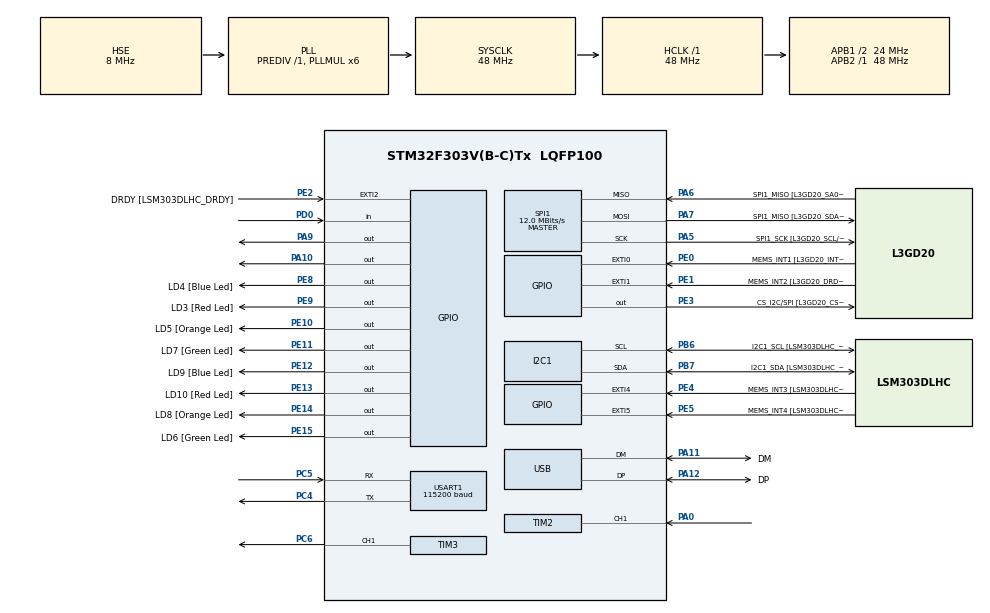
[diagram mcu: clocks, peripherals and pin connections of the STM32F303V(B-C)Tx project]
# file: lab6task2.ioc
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I2C1.Timing=0x2000090E
I2C1.Timing-I2C=0x2000090E
Mcu.Family=STM32F3
Mcu.Name=STM32F303V(B-C)Tx
Mcu.Package=LQFP100
NVIC.PriorityGroup=NVIC_PRIORITYGROUP_0
NVIC.TIM2_IRQn=true\:0\:0\:false\:false\:true\:true\:true\:true
PA0.Signal=S_TIM2_CH1_ETR
PA10.Signal=GPIO_Output
PA11.GPIO_Label=DM
PA11.Mode=Device
PA11.Signal=USB_DM
PA12.GPIO_Label=DP
PA12.Mode=Device
PA12.Signal=USB_DP
PA13.GPIO_Label=SWDIO
PA13.Mode=Serial_Wire
PA13.Signal=SYS_JTMS-SWDIO
PA14.GPIO_Label=SWCLK
PA14.Mode=Serial_Wire
PA14.Signal=SYS_JTCK-SWCLK
PA5.GPIO_Label=SPI1_SCK [L3GD20_SCL/SPC]
PA5.Mode=Full_Duplex_Master
PA5.Signal=SPI1_SCK
PA6.GPIO_Label=SPI1_MISO [L3GD20_SA0/SDO]
PA6.Mode=Full_Duplex_Master
PA6.Signal=SPI1_MISO
PA7.GPIO_Label=SPI1_MISO [L3GD20_SDA/SDI/SDO]
PA7.Mode=Full_Duplex_Master
PA7.Signal=SPI1_MOSI
PA9.Signal=GPIO_Output
PB3.GPIO_Label=SWO
PB3.Signal=SYS_JTDO-TRACESWO
PB6.GPIO_Label=I2C1_SCL [LSM303DLHC_SCL]
PB6.GPIO_Pu=GPIO_PULLUP
PB6.Mode=I2C
PB6.Signal=I2C1_SCL
PB7.GPIO_Label=I2C1_SDA [LSM303DLHC_SDA]
PB7.GPIO_Pu=GPIO_PULLUP
PB7.Mode=I2C
PB7.Signal=I2C1_SDA
PC14-OSC32_IN.GPIO_Label=OSC32_IN
PC14-OSC32_IN.Signal=RCC_OSC32_IN
PC15-OSC32_OUT.GPIO_Label=OSC32_OUT
PC15-OSC32_OUT.Signal=RCC_OSC32_OUT
PC4.Mode=Asynchronous
PC4.Signal=USART1_TX
PC5.Mode=Asynchronous
PC5.Signal=USART1_RX
PC6.Signal=S_TIM3_CH1
PD0.Signal=GPIO_Input
PE0.GPIO_Label=MEMS_INT1 [L3GD20_INT1]
PE0.GPIO_ModeDefaultEXTI=GPIO_MODE_EVT_RISING
PE0.Signal=GPXTI0
PE1.GPIO_Label=MEMS_INT2 [L3GD20_DRDY/INT2]
PE1.GPIO_ModeDefaultEXTI=GPIO_MODE_EVT_RISING
PE1.Signal=GPXTI1
PE10.GPIO_Label=LD5 [Orange Led]
PE10.Signal=GPIO_Output
PE11.GPIO_Label=LD7 [Green Led]
PE11.Signal=GPIO_Output
PE12.GPIO_Label=LD9 [Blue Led]
PE12.Signal=GPIO_Output
PE13.GPIO_Label=LD10 [Red Led]
PE13.Signal=GPIO_Output
PE14.GPIO_Label=LD8 [Orange Led]
PE14.Signal=GPIO_Output
PE15.GPIO_Label=LD6 [Green Led]
PE15.Signal=GPIO_Output
PE2.GPIO_Label=DRDY [LSM303DLHC_DRDY]
PE2.GPIO_ModeDefaultEXTI=GPIO_MODE_EVT_RISING
PE2.Signal=GPXTI2
PE3.GPIO_Label=CS_I2C/SPI [L3GD20_CS_I2C/SPI]
PE3.Signal=GPIO_Output
PE4.GPIO_Label=MEMS_INT3 [LSM303DLHC_INT1]
PE4.GPIO_ModeDefaultEXTI=GPIO_MODE_EVT_RISING
PE4.Signal=GPXTI4
PE5.GPIO_Label=MEMS_INT4 [LSM303DLHC_INT2]
PE5.GPIO_ModeDefaultEXTI=GPIO_MODE_EVT_RISING
PE5.Signal=GPXTI5
PE8.GPIO_Label=LD4 [Blue Led]
PE8.Signal=GPIO_Output
PE9.GPIO_Label=LD3 [Red Led]
PE9.Signal=GPIO_Output
PF0-OSC_IN.GPIO_Label=OSC_IN
PF0-OSC_IN.Mode=HSE-External-Clock-Source
PF0-OSC_IN.Signal=RCC_OSC_IN
PF1-OSC_OUT.GPIO_Label=OSC_OUT
PF1-OSC_OUT.Signal=RCC_OSC_OUT
ProjectManager.HeapSize=0x200
ProjectManager.StackSize=0x400
ProjectManager.TargetToolchain=CMake
RCC.AHBFreq_Value=48000000
RCC.APB1CLKDivider=RCC_HCLK_DIV2
RCC.APB1Freq_Value=24000000
RCC.APB1TimFreq_Value=48000000
RCC.APB2Freq_Value=48000000
RCC.APB2TimFreq_Value=48000000
RCC.CortexFreq_Value=48000000
RCC.HCLKFreq_Value=48000000
RCC.HSE_VALUE=8000000
RCC.HSI_VALUE=8000000
RCC.LSE_VALUE=32768
RCC.PLLMUL=RCC_PLL_MUL6
RCC.SYSCLKFreq_VALUE=48000000
RCC.SYSCLKSourceVirtual=RCC_SYSCLKSOURCE_PLLCLK
RCC.USBFreq_Value=48000000
SH.S_TIM2_CH1_ETR.0=TIM2_CH1,Input_Capture1_from_TI1
SH.S_TIM3_CH1.0=TIM3_CH1,PWM Generation1 CH1
SPI1.BaudRatePrescaler=SPI_BAUDRATEPRESCALER_4
SPI1.BaudRatePrescaler-Full_Duplex_Master=SPI_BAUDRATEPRESCALER_2
SPI1.CalculateBaudRate=12.0 MBits/s
SPI1.CalculateBaudRate-Full_Duplex_Master=24.0 MBits/s
SPI1.Direction=SPI_DIRECTION_2LINES
SPI1.Mode=SPI_MODE_MASTER
SPI1.Mode-Full_Duplex_Master=SPI_MODE_MASTER
SPI1.VirtualType=VM_MASTER
TIM2.Channel-Input_Capture1_from_TI1=TIM_CHANNEL_1
TIM2.Period=0xFFFF
TIM2.Prescaler=71
TIM3.Channel-PWM\ Generation1\ CH1=TIM_CHANNEL_1
TIM3.Period=999
TIM3.Prescaler=47
TIM3.Pulse-PWM\ Generation1\ CH1=500
USART1.BaudRate=115200
USART1.VirtualMode-Asynchronous=VM_ASYNC
board=STM32F3DISCOVERY

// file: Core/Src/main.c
/* USER CODE BEGIN Header */
/**
  ******************************************************************************
  * @file           : main.c
  * @brief          : Main program body
  ******************************************************************************
  * @attention
  *
  * Copyright (c) 2025 STMicroelectronics.
  * All rights reserved.
  *
  * This software is licensed under terms that can be found in the LICENSE file
  * in the root directory of this software component.
  * If no LICENSE file comes with this software, it is provided AS-IS.
  *
  ******************************************************************************
  */
/* USER CODE END Header */
#include "main.h"
#include "stdio.h"
#include "string.h"

I2C_HandleTypeDef hi2c1;

SPI_HandleTypeDef hspi1;

TIM_HandleTypeDef htim2;
TIM_HandleTypeDef htim3;

UART_HandleTypeDef huart1;

PCD_HandleTypeDef hpcd_USB_FS;

/* USER CODE BEGIN PV */
/* USER CODE BEGIN PV */
// uint32_t ic_val1 = 0;
// uint32_t ic_val2 = 0;
// uint32_t diff = 0;
// uint8_t is_first_captured = 0;             //task2
// float frequency = 0.0;
// char msg[50];
TIM_HandleTypeDef htim2;
UART_HandleTypeDef huart1;
uint32_t ticks = 0;    //task4
float frequency = 0.0;
float rpm = 0.0;
char msg[50];
uint32_t diff = 0;
uint8_t last_state = 1; //task3
uint8_t current_state = 1;
uint32_t start = 0, end = 0;

/* USER CODE BEGIN PV */
// uint32_t ic_val1 = 0;
// uint32_t ic_val2 = 0;
// uint32_t diff = 0;
// uint8_t is_first_captured = 0;
// float frequency = 0.0;
char msg[50];
/* USER CODE END PV */
#define PPR 330  // Example: set to your encoder's Pulses Per Revolution

/* USER CODE END PV */

void SystemClock_Config(void);
static void MX_GPIO_Init(void);
static void MX_I2C1_Init(void);
static void MX_SPI1_Init(void);
static void MX_TIM2_Init(void);
static void MX_TIM3_Init(void);
static void MX_USART1_UART_Init(void);
static void MX_USB_PCD_Init(void);

int main(void)
{

  /* MCU Configuration--------------------------------------------------------*/

  /* Reset of all peripherals, Initializes the Flash interface and the Systick. */
  HAL_Init();

  /* Configure the system clock */
  SystemClock_Config();

  /* Initialize all configured peripherals */
  MX_GPIO_Init();
  MX_I2C1_Init();
  MX_SPI1_Init();
  MX_TIM2_Init();
  MX_TIM3_Init();
  MX_USART1_UART_Init();
  MX_USB_PCD_Init();
  /* USER CODE BEGIN 2 */
  //  HAL_TIM_IC_Start_IT(&htim2, TIM_CHANNEL_1);    // Start PWM on PC6                  \\task 2
// HAL_TIM_Base_Start(&htim2);                 // Start TIM2 for input capture
HAL_TIM_PWM_Start(&htim3, TIM_CHANNEL_1);
HAL_TIM_IC_Start_IT(&htim2, TIM_CHANNEL_1); // TIM2 input capture with interrupt          // task 4

// Start timer for microsecond measurement
HAL_TIM_Base_Start(&htim2);

// Motor forward
HAL_GPIO_WritePin(GPIOA, GPIO_PIN_9, GPIO_PIN_SET);    // DIR1
HAL_GPIO_WritePin(GPIOA, GPIO_PIN_10, GPIO_PIN_RESET); // DIR2

// Set PWM duty cycle (example 60%)
__HAL_TIM_SET_COMPARE(&htim3, TIM_CHANNEL_1, 600);

  /* USER CODE END 2 */

  /* Infinite loop */
  /* USER CODE BEGIN WHILE */
  // while (1)
  // {
  //   sprintf(msg, "Frequency = %.2f Hz\r\n", frequency);
  //   HAL_UART_Transmit(&huart1, (uint8_t*)msg, strlen(msg), HAL_MAX_DELAY);          //TASK2
  //   HAL_Delay(500);
  // }

uint32_t t1 = 0, t2 = 0;

// --------------------------------task4-----------------------------
while (1)
{
    sprintf(msg, "Freq = %.2f Hz   RPM = %.2f\r\n", frequency, rpm);
    HAL_UART_Transmit(&huart1, (uint8_t*)msg, strlen(msg), HAL_MAX_DELAY);
    HAL_Delay(200);
}

//-----------------------------------------------------------------

// while (1) // Task 3: Polling method
// {
//     // Read encoder pin (e.g., PA0)
//     current_state = HAL_GPIO_ReadPin(GPIOA, GPIO_PIN_0);

//     // Detect falling edge (1 -> 0)
//     if (last_state == 1 && current_state == 0)
//     {
//         if (start == 0)
//         {
//             start = __HAL_TIM_GET_COUNTER(&htim2);  // Start timing
//         }
//         else
//         {
//             end = __HAL_TIM_GET_COUNTER(&htim2);    // Stop timing

//             if (end >= start)
//                 diff = end - start;
//             else
//                 diff = (0xFFFF - start) + end;

//             start = 0;  // Reset for next cycle

//             // Optional noise filter
//             // if (diff < 5000 || diff > 80000)
//             //     continue;

//             // Calculate frequency and RPM
//             frequency = 1000000.0 / diff;  // Since 1 tick = 1 µs (prescaler=47)
//             rpm = (60.0 * frequency) / PPR;

//             sprintf(msg, "Freq=%.2f Hz  RPM=%.2f\r\n", frequency, rpm);
//             HAL_UART_Transmit(&huart1, (uint8_t *)msg, strlen(msg), HAL_MAX_DELAY);
//             HAL_Delay(200);
//         }
//     }

//     last_state = current_state;
// }

  /* USER CODE END 3 */
}

void SystemClock_Config(void)
{
  RCC_OscInitTypeDef RCC_OscInitStruct = {0};
  RCC_ClkInitTypeDef RCC_ClkInitStruct = {0};
  RCC_PeriphCLKInitTypeDef PeriphClkInit = {0};

  /** Initializes the RCC Oscillators according to the specified parameters
  * in the RCC_OscInitTypeDef structure.
  */
  RCC_OscInitStruct.OscillatorType = RCC_OSCILLATORTYPE_HSI|RCC_OSCILLATORTYPE_HSE;
  RCC_OscInitStruct.HSEState = RCC_HSE_BYPASS;
  RCC_OscInitStruct.HSEPredivValue = RCC_HSE_PREDIV_DIV1;
  RCC_OscInitStruct.HSIState = RCC_HSI_ON;
  RCC_OscInitStruct.HSICalibrationValue = RCC_HSICALIBRATION_DEFAULT;
  RCC_OscInitStruct.PLL.PLLState = RCC_PLL_ON;
  RCC_OscInitStruct.PLL.PLLSource = RCC_PLLSOURCE_HSE;
  RCC_OscInitStruct.PLL.PLLMUL = RCC_PLL_MUL6;
  if (HAL_RCC_OscConfig(&RCC_OscInitStruct) != HAL_OK)
  {
    Error_Handler();
  }

  /** Initializes the CPU, AHB and APB buses clocks
  */
  RCC_ClkInitStruct.ClockType = RCC_CLOCKTYPE_HCLK|RCC_CLOCKTYPE_SYSCLK
                              |RCC_CLOCKTYPE_PCLK1|RCC_CLOCKTYPE_PCLK2;
  RCC_ClkInitStruct.SYSCLKSource = RCC_SYSCLKSOURCE_PLLCLK;
  RCC_ClkInitStruct.AHBCLKDivider = RCC_SYSCLK_DIV1;
  RCC_ClkInitStruct.APB1CLKDivider = RCC_HCLK_DIV2;
  RCC_ClkInitStruct.APB2CLKDivider = RCC_HCLK_DIV1;

  if (HAL_RCC_ClockConfig(&RCC_ClkInitStruct, FLASH_LATENCY_1) != HAL_OK)
  {
    Error_Handler();
  }
  PeriphClkInit.PeriphClockSelection = RCC_PERIPHCLK_USB|RCC_PERIPHCLK_USART1
                              |RCC_PERIPHCLK_I2C1;
  PeriphClkInit.Usart1ClockSelection = RCC_USART1CLKSOURCE_PCLK2;
  PeriphClkInit.I2c1ClockSelection = RCC_I2C1CLKSOURCE_HSI;
  PeriphClkInit.USBClockSelection = RCC_USBCLKSOURCE_PLL;
  if (HAL_RCCEx_PeriphCLKConfig(&PeriphClkInit) != HAL_OK)
  {
    Error_Handler();
  }
}

static void MX_I2C1_Init(void)
{

  hi2c1.Instance = I2C1;
  hi2c1.Init.Timing = 0x2000090E;
  hi2c1.Init.OwnAddress1 = 0;
  hi2c1.Init.AddressingMode = I2C_ADDRESSINGMODE_7BIT;
  hi2c1.Init.DualAddressMode = I2C_DUALADDRESS_DISABLE;
  hi2c1.Init.OwnAddress2 = 0;
  hi2c1.Init.OwnAddress2Masks = I2C_OA2_NOMASK;
  hi2c1.Init.GeneralCallMode = I2C_GENERALCALL_DISABLE;
  hi2c1.Init.NoStretchMode = I2C_NOSTRETCH_DISABLE;
  if (HAL_I2C_Init(&hi2c1) != HAL_OK)
  {
    Error_Handler();
  }

  /** Configure Analogue filter
  */
  if (HAL_I2CEx_ConfigAnalogFilter(&hi2c1, I2C_ANALOGFILTER_ENABLE) != HAL_OK)
  {
    Error_Handler();
  }

  /** Configure Digital filter
  */
  if (HAL_I2CEx_ConfigDigitalFilter(&hi2c1, 0) != HAL_OK)
  {
    Error_Handler();
  }

}

static void MX_SPI1_Init(void)
{

  /* SPI1 parameter configuration*/
  hspi1.Instance = SPI1;
  hspi1.Init.Mode = SPI_MODE_MASTER;
  hspi1.Init.Direction = SPI_DIRECTION_2LINES;
  hspi1.Init.DataSize = SPI_DATASIZE_4BIT;
  hspi1.Init.CLKPolarity = SPI_POLARITY_LOW;
  hspi1.Init.CLKPhase = SPI_PHASE_1EDGE;
  hspi1.Init.NSS = SPI_NSS_SOFT;
  hspi1.Init.BaudRatePrescaler = SPI_BAUDRATEPRESCALER_4;
  hspi1.Init.FirstBit = SPI_FIRSTBIT_MSB;
  hspi1.Init.TIMode = SPI_TIMODE_DISABLE;
  hspi1.Init.CRCCalculation = SPI_CRCCALCULATION_DISABLE;
  hspi1.Init.CRCPolynomial = 7;
  hspi1.Init.CRCLength = SPI_CRC_LENGTH_DATASIZE;
  hspi1.Init.NSSPMode = SPI_NSS_PULSE_ENABLE;
  if (HAL_SPI_Init(&hspi1) != HAL_OK)
  {
    Error_Handler();
  }

}

static void MX_TIM2_Init(void)
{

  TIM_MasterConfigTypeDef sMasterConfig = {0};
  TIM_IC_InitTypeDef sConfigIC = {0};

  htim2.Instance = TIM2;
  htim2.Init.Prescaler = 47;
  htim2.Init.CounterMode = TIM_COUNTERMODE_UP;
  htim2.Init.Period = 0xFFFF;
  htim2.Init.ClockDivision = TIM_CLOCKDIVISION_DIV1;
  htim2.Init.AutoReloadPreload = TIM_AUTORELOAD_PRELOAD_DISABLE;

  sConfigIC.ICPolarity = TIM_INPUTCHANNELPOLARITY_RISING;
sConfigIC.ICSelection = TIM_ICSELECTION_DIRECTTI;
sConfigIC.ICPrescaler = TIM_ICPSC_DIV1;
sConfigIC.ICFilter = 12;  // <-- currently zero

  if (HAL_TIM_IC_Init(&htim2) != HAL_OK)
  {
    Error_Handler();
  }
  sMasterConfig.MasterOutputTrigger = TIM_TRGO_RESET;
  sMasterConfig.MasterSlaveMode = TIM_MASTERSLAVEMODE_DISABLE;
  if (HAL_TIMEx_MasterConfigSynchronization(&htim2, &sMasterConfig) != HAL_OK)
  {
    Error_Handler();
  }
  sConfigIC.ICPolarity = TIM_INPUTCHANNELPOLARITY_RISING;
  sConfigIC.ICSelection = TIM_ICSELECTION_DIRECTTI;
  sConfigIC.ICPrescaler = TIM_ICPSC_DIV1;
  sConfigIC.ICFilter = 0;
  HAL_TIM_IC_ConfigChannel(&htim2, &sConfigIC, TIM_CHANNEL_1);
  if (HAL_TIM_IC_ConfigChannel(&htim2, &sConfigIC, TIM_CHANNEL_1) != HAL_OK)
  {
    Error_Handler();
  }

}

static void MX_TIM3_Init(void)
{

  TIM_MasterConfigTypeDef sMasterConfig = {0};
  TIM_OC_InitTypeDef sConfigOC = {0};

  htim3.Instance = TIM3;
  htim3.Init.Prescaler = 71;
  htim3.Init.CounterMode = TIM_COUNTERMODE_UP;
  htim3.Init.Period = 999;
  htim3.Init.ClockDivision = TIM_CLOCKDIVISION_DIV1;
  htim3.Init.AutoReloadPreload = TIM_AUTORELOAD_PRELOAD_DISABLE;
  if (HAL_TIM_PWM_Init(&htim3) != HAL_OK)
  {
    Error_Handler();
  }
  sMasterConfig.MasterOutputTrigger = TIM_TRGO_RESET;
  sMasterConfig.MasterSlaveMode = TIM_MASTERSLAVEMODE_DISABLE;
  if (HAL_TIMEx_MasterConfigSynchronization(&htim3, &sMasterConfig) != HAL_OK)
  {
    Error_Handler();
  }
  sConfigOC.OCMode = TIM_OCMODE_PWM1;
  sConfigOC.Pulse = 500;
  sConfigOC.OCPolarity = TIM_OCPOLARITY_HIGH;
  sConfigOC.OCFastMode = TIM_OCFAST_DISABLE;
  if (HAL_TIM_PWM_ConfigChannel(&htim3, &sConfigOC, TIM_CHANNEL_1) != HAL_OK)
  {
    Error_Handler();
  }
  HAL_TIM_MspPostInit(&htim3);

}

static void MX_USART1_UART_Init(void)
{

  huart1.Instance = USART1;
  huart1.Init.BaudRate = 115200;
  huart1.Init.WordLength = UART_WORDLENGTH_8B;
  huart1.Init.StopBits = UART_STOPBITS_1;
  huart1.Init.Parity = UART_PARITY_NONE;
  huart1.Init.Mode = UART_MODE_TX_RX;
  huart1.Init.HwFlowCtl = UART_HWCONTROL_NONE;
  huart1.Init.OverSampling = UART_OVERSAMPLING_16;
  huart1.Init.OneBitSampling = UART_ONE_BIT_SAMPLE_DISABLE;
  huart1.AdvancedInit.AdvFeatureInit = UART_ADVFEATURE_NO_INIT;
  if (HAL_UART_Init(&huart1) != HAL_OK)
  {
    Error_Handler();
  }

}

static void MX_USB_PCD_Init(void)
{

  hpcd_USB_FS.Instance = USB;
  hpcd_USB_FS.Init.dev_endpoints = 8;
  hpcd_USB_FS.Init.speed = PCD_SPEED_FULL;
  hpcd_USB_FS.Init.phy_itface = PCD_PHY_EMBEDDED;
  hpcd_USB_FS.Init.low_power_enable = DISABLE;
  hpcd_USB_FS.Init.battery_charging_enable = DISABLE;
  if (HAL_PCD_Init(&hpcd_USB_FS) != HAL_OK)
  {
    Error_Handler();
  }

}

static void MX_GPIO_Init(void)
{
  GPIO_InitTypeDef GPIO_InitStruct = {0};

  /* GPIO Ports Clock Enable */
  __HAL_RCC_GPIOE_CLK_ENABLE();
  __HAL_RCC_GPIOC_CLK_ENABLE();
  __HAL_RCC_GPIOF_CLK_ENABLE();
  __HAL_RCC_GPIOA_CLK_ENABLE();
  __HAL_RCC_GPIOD_CLK_ENABLE();
  __HAL_RCC_GPIOB_CLK_ENABLE();

  /*Configure GPIO pin Output Level */
  HAL_GPIO_WritePin(GPIOE, CS_I2C_SPI_Pin|LD4_Pin|LD3_Pin|LD5_Pin
                          |LD7_Pin|LD9_Pin|LD10_Pin|LD8_Pin
                          |LD6_Pin, GPIO_PIN_RESET);

  /*Configure GPIO pin Output Level */
  HAL_GPIO_WritePin(GPIOA, GPIO_PIN_9|GPIO_PIN_10, GPIO_PIN_RESET);

  /*Configure GPIO pins : DRDY_Pin MEMS_INT3_Pin MEMS_INT4_Pin MEMS_INT1_Pin
                           MEMS_INT2_Pin */
  GPIO_InitStruct.Pin = DRDY_Pin|MEMS_INT3_Pin|MEMS_INT4_Pin|MEMS_INT1_Pin
                          |MEMS_INT2_Pin;
  GPIO_InitStruct.Mode = GPIO_MODE_EVT_RISING;
  GPIO_InitStruct.Pull = GPIO_NOPULL;
  HAL_GPIO_Init(GPIOE, &GPIO_InitStruct);

  /*Configure GPIO pins : CS_I2C_SPI_Pin LD4_Pin LD3_Pin LD5_Pin
                           LD7_Pin LD9_Pin LD10_Pin LD8_Pin
                           LD6_Pin */
  GPIO_InitStruct.Pin = CS_I2C_SPI_Pin|LD4_Pin|LD3_Pin|LD5_Pin
                          |LD7_Pin|LD9_Pin|LD10_Pin|LD8_Pin
                          |LD6_Pin;
  GPIO_InitStruct.Mode = GPIO_MODE_OUTPUT_PP;
  GPIO_InitStruct.Pull = GPIO_NOPULL;
  GPIO_InitStruct.Speed = GPIO_SPEED_FREQ_LOW;
  HAL_GPIO_Init(GPIOE, &GPIO_InitStruct);

  /*Configure GPIO pins : PA9 PA10 */
  GPIO_InitStruct.Pin = GPIO_PIN_9|GPIO_PIN_10;
  GPIO_InitStruct.Mode = GPIO_MODE_OUTPUT_PP;
  GPIO_InitStruct.Pull = GPIO_NOPULL;
  GPIO_InitStruct.Speed = GPIO_SPEED_FREQ_LOW;
  HAL_GPIO_Init(GPIOA, &GPIO_InitStruct);

  /*Configure GPIO pin : PD0 */
  /* Configure PA0 as TIM2_CH1 input */
GPIO_InitStruct.Pin = GPIO_PIN_0;
GPIO_InitStruct.Mode = GPIO_MODE_AF_PP;   // Alternate function push-pull
GPIO_InitStruct.Pull = GPIO_NOPULL;
GPIO_InitStruct.Speed = GPIO_SPEED_FREQ_HIGH;
HAL_GPIO_Init(GPIOA, &GPIO_InitStruct);

}

/* USER CODE BEGIN 4 */
//  ----------------------------------task4---------------------------------
uint32_t last_capture = 0;
void HAL_TIM_IC_CaptureCallback(TIM_HandleTypeDef *htim)
{
    if (htim->Instance == TIM2 && htim->Channel == HAL_TIM_ACTIVE_CHANNEL_1)
    {
        uint32_t current_capture = HAL_TIM_ReadCapturedValue(htim, TIM_CHANNEL_1);
        uint32_t diff;

        if (current_capture >= last_capture)
            diff = current_capture - last_capture;
        else
            diff = (0xFFFF - last_capture) + current_capture;

        last_capture = current_capture;

        // 🛡️ Ignore unrealistic captures caused by noise
        // if (diff < 5000 || diff > 80000)
        //     return;

        // 💡 Calculate frequency and RPM
        frequency = 1000000.0 / diff;   // 1 tick = 1 µs
        rpm = (60.0 * frequency) / PPR;
    }
}
//-------------------------------------------------------------------------

/* USER CODE END 4 */

void Error_Handler(void)
{
  __disable_irq();
  while (1)
  {
  }
}
